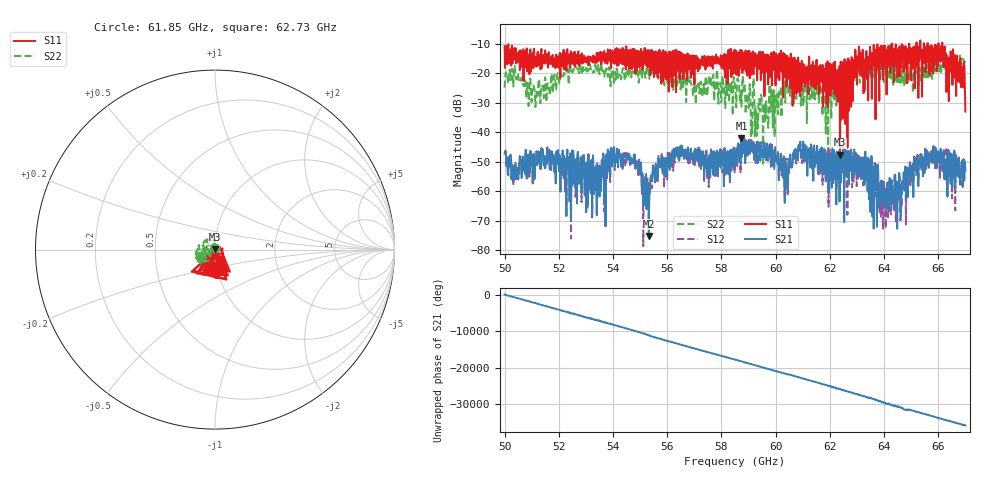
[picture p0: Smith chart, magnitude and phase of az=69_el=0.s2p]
!Created with skrf (http://scikit-rf.org).
# GHz S RI R 50.0
!freq ReS11 ImS11 ReS21 ImS21 ReS12 ImS12 ReS22 ImS22
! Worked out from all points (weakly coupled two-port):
!   1001 points, 50 GHz to 67 GHz, reference 50 ohm
!   highest |S21| = -41.98 dB at 58.74 GHz (marker M1); lowest = -75.2 dB at 55.32 GHz (marker M2)
!   lowest |S11| = -47.6 dB at 62.38 GHz (marker M3), VSWR 1.01, Z = 49.8 + j0.368 ohm
!   |S11| at or under -10 dB: start of sweep to 64.3 GHz; 65.61 GHz to 66 GHz (390.1 MHz wide, 0.593 % of centre); 66.15 GHz to end of sweep (the widest 3 of 10)
!   |S22| runs from -51.3 to -13.8 dB; largest |S21 - S12| = 0.0029
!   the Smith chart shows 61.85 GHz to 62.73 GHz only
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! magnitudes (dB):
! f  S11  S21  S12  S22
! 50 GHz  -10.7  -47.2  -47.5  -24.8
! 50.39 GHz  -13.8  -50.9  -49.9  -19.3
! 51.07 GHz  -12.8  -47.4  -47.3  -24.3
! 52.84 GHz  -15.1  -60.0  -63.8  -19.7
! 53.31 GHz  -14.2  -52.3  -51.9  -18.6
! 54.52 GHz  -16.6  -49.1  -48.7  -18.5
! 55.32 GHz  -17.2  -75.2  -70.7  -21.0
! 55.68 GHz  -14.3  -48.7  -47.7  -21.8
! 58.5 GHz  -19.8  -46.4  -46.8  -24.3
! 58.74 GHz  -15.5  -42.0  -43.1  -31.3
! 59.62 GHz  -13.6  -47.3  -47.2  -36.2
! 60.37 GHz  -15.2  -54.9  -48.9  -25.0
! 60.83 GHz  -14.6  -46.3  -44.5  -23.4
! 61.34 GHz  -23.8  -51.2  -52.4  -26.2
! 62 GHz  -16.6  -53.5  -51.9  -25.7
! 62.38 GHz  -47.6  -47.0  -48.8  -18.4
! 63.28 GHz  -25.8  -57.9  -57.2  -17.0
! 64.18 GHz  -17.4  -59.4  -63.4  -18.5
! 65.56 GHz  -10.9  -52.4  -50.6  -21.4
! 66.08 GHz  -15.9  -45.6  -46.7  -15.8
! 66.9 GHz  -17.8  -57.0  -58.6  -15.2
! 67 GHz  -33.0  -53.1  -53.6  -15.7
